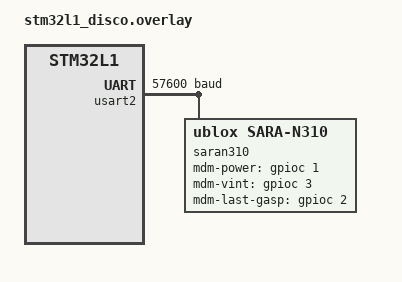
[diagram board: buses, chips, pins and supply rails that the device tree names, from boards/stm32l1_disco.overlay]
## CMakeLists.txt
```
# SPDX-License-Identifier: Apache-2.0

cmake_minimum_required(VERSION 3.13.1)
find_package(Zephyr REQUIRED HINTS $ENV{ZEPHYR_BASE})
project(ublox_sara_n310)

target_sources(app PRIVATE src/main.c)
```

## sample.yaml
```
sample:
  name: N310 Modem Sample
tests:
  sample.drivers.ublox_sara_n310:
    tags: modem net
    depends_on: gpio modem net
```

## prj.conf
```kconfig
### required for driver but selected by board/SoC already ###
CONFIG_GPIO=y
CONFIG_SERIAL=y

### required for driver but not selected by board/SoC ###
CONFIG_MODEM=y
CONFIG_MODEM_UBLOX_SARA_N310=y

CONFIG_NETWORKING=y
CONFIG_NET_SOCKETS=y
CONFIG_NET_SOCKETS_OFFLOAD=y # Must be enabled for socket offloading
CONFIG_NET_SOCKETS_POSIX_NAMES=y
CONFIG_NET_IPV4=y
CONFIG_NET_IPV6=n

### increase stack sizes ###
CONFIG_MAIN_STACK_SIZE=2048
CONFIG_LOG_PROCESS_THREAD_STACK_SIZE=1536

### debugging ###
CONFIG_LOG=y
#CONFIG_LOG_STRDUP_BUF_COUNT=6

### needed to suppress "sys_rand_get" compiling error ###
CONFIG_TEST_RANDOM_GENERATOR=y
```

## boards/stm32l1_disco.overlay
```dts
/*
 * Copyright (c) 2021 Abel Sensors
 *
 * SPDX-License-Identifier: Apache-2.0
 */

/* SRAM and FLASH sizes are increased to match that of the stm32l152c */
&sram0 {
    reg = <0x20000000 DT_SIZE_K(32)>;
};

&flash0 {
    reg = <0x08000000 DT_SIZE_K(256)>;
};

&usart2 {
    status = "okay";
    current-speed = <57600>;

    saran310 {
        compatible = "ublox,sara-n310";
        mdm-power-gpios = <&gpioc 1 GPIO_ACTIVE_HIGH>; /* PC1 */
        mdm-vint-gpios = <&gpioc 3 0>; /* PC3 */
        mdm-last-gasp-gpios = <&gpioc 2 GPIO_ACTIVE_HIGH>; /* PC2 */
    };
};
```

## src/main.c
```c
/*
 * Copyright (c) 2022 Abel Sensors
 *
 * SPDX-License-Identifier: Apache-2.0
 */

#include <zephyr.h>
#include <net/socket.h>
#include <zephyr/device.h>
#include <drivers/modem/ublox-sara-n310.h>

#define LOG_LEVEL CONFIG_LOG_DEFAULT_LEVEL
#include <logging/log.h>
LOG_MODULE_REGISTER(main);

#define N310_NODE DT_INST(0, ublox_sara_n310)
#define MAX_BUF 512

/* PSM TIME SETTINGS */
#define PERIODIC_TAU "01011111"
#define ACTIVE_TIME "00000000"

void main(void)
{
	static const struct device *dev_ubloxn3;
	struct sockaddr_in addr;
	int n = 0, sockfd = 0;

	dev_ubloxn3 = DEVICE_DT_GET(N310_NODE);

	if (!device_is_ready(dev_ubloxn3)) {
		LOG_ERR("Failed to get device binding.");
		return;
	}

	LOG_INF("Manufacturer: %s", log_strdup(n310_get_manufacturer()));
	LOG_INF("Model: %s", log_strdup(n310_get_model()));
	LOG_INF("Revision: %s", log_strdup(n310_get_revision()));
	LOG_INF("ICCID: %s", log_strdup(n310_get_iccid()));
	LOG_INF("IMEI: %s", log_strdup(n310_get_imei()));
	LOG_INF("IP: %s", log_strdup(n310_get_ip()));

	int network_state = n310_get_network_state();
	LOG_INF("Network state: %d", network_state);

	int jamming_state = n310_get_jamming_state();
	LOG_INF("Jamming state: %d", jamming_state);

	int antenna_load = n310_get_antenna_load();
	LOG_INF("Antenna load: %d", antenna_load);

	struct n310_signal_quality buffer;
	n310_get_signal_quality(&buffer);
	LOG_INF("Signal quality: %d, %d", buffer.rssi, buffer.quality);

	n310_psm_set_csclk(2);
	n310_psm_config(PSM_ENABLE, PERIODIC_TAU, ACTIVE_TIME);
	n310_psm_set_mode(PM2);

	n310_set_last_gasp("Hello there!", "192.168.0.10:5050", 1, 1);
	n310_send_last_gasp();

	memset(&addr, 0, sizeof(addr));
	addr.sin_family = AF_INET;
	addr.sin_port = htons(4242);
	inet_pton(AF_INET, "192.168.0.20", &addr.sin_addr);

	sockfd = socket(AF_INET, SOCK_DGRAM, IPPROTO_UDP);
	if (sockfd < 0) {
		LOG_INF("Could not create socket. Return value: %d", sockfd);
	}

	LOG_INF("Connecting...");
	n = connect(sockfd, (const struct sockaddr *)&addr, sizeof(addr));
	if (n < 0) {
	  LOG_ERR("Bind failed with return value: %d", n);
	}

	while (1) {
		char *buffer = "ABDD";
		char recvBuffer[MAX_BUF] = "\0";

		LOG_INF("Sending...");
		n = sendto(sockfd, buffer, strlen(buffer) / 2,
			   RELEASE_AFTER_FIRST_DOWNLINK,
			   (const struct sockaddr *)&addr, sizeof(addr));
		if (n < 0) {
		  LOG_ERR("Send failed with return value: %d", n);
		}

		k_msleep(5000);

		LOG_INF("Receiving...");
		n = recvfrom(sockfd, recvBuffer, MAX_BUF, ZSOCK_MSG_DONTWAIT,
			     NULL, NULL);
		if (n <= 0) {
			strcpy(recvBuffer, "No data in buffer.");
		}
		LOG_INF("Received: %s", log_strdup(recvBuffer));

		k_msleep(2000);
	}
}
```
